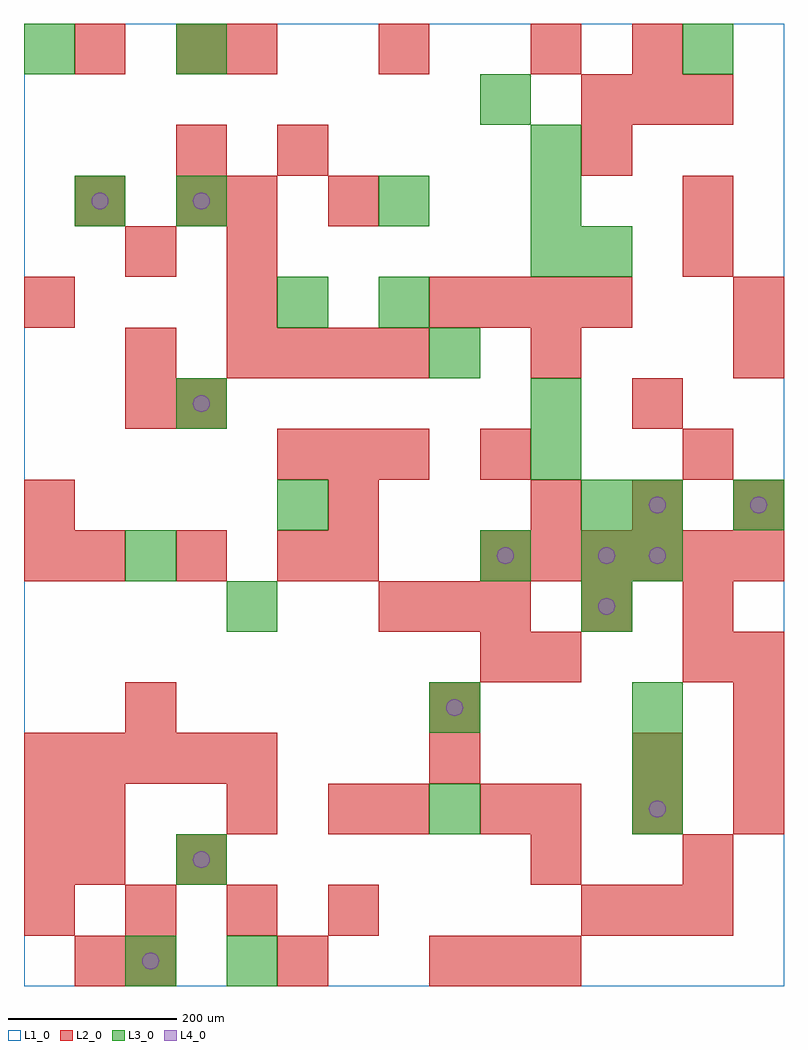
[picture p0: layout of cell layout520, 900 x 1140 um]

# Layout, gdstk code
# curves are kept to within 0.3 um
import gdstk
lib = gdstk.Library(unit=1e-6, precision=1e-09)
def R(c, l, rs):  # rectangles x0, y0, x1, y1
    for r in rs: c.add(gdstk.rectangle(r[:2], r[2:], *l))
def A(c, l, x, y, w, h, nx, ny, dx, dy):  # array of equal rectangles
    R(c, l, [(x+i*dx, y+j*dy, x+i*dx+w, y+j*dy+h) for i in range(nx) for j in range(ny)])
def P(c, l, *ps):  # polygons
    for p in ps: c.add(gdstk.Polygon(p, *l))
L1_0 = (1, 0)
L2_0 = (2, 0)
L3_0 = (3, 0)
L4_0 = (4, 0)

layout520 = lib.new_cell('layout520')
R(layout520, L1_0, [(0,0,900,1140)])
A(layout520, L2_0, 120, 0, 60, 60, 3, 1, 180, 0)
A(layout520, L2_0, 540, 0, 60, 60, 1, 3, 0, 180)
A(layout520, L2_0, 0, 60, 60, 60, 4, 1, 120, 0)
A(layout520, L2_0, 660, 60, 60, 60, 3, 2, 60, 960)
A(layout520, L2_0, 600, 180, 60, 60, 3, 2, 120, 360)
A(layout520, L2_0, 0, 240, 60, 60, 5, 1, 60, 0)
A(layout520, L2_0, 720, 240, 60, 60, 1, 3, 0, 420)
A(layout520, L2_0, 120, 300, 60, 60, 3, 1, 360, 0)
A(layout520, L2_0, 420, 420, 60, 60, 3, 1, 60, 0)
A(layout520, L2_0, 60, 480, 60, 60, 3, 1, 120, 0)
A(layout520, L2_0, 540, 480, 60, 60, 6, 1, 60, 0)
A(layout520, L2_0, 300, 600, 60, 60, 3, 1, 60, 0)
A(layout520, L2_0, 240, 720, 60, 60, 4, 1, 60, 0)
A(layout520, L2_0, 0, 780, 60, 60, 3, 1, 240, 0)
A(layout520, L2_0, 540, 780, 60, 60, 3, 1, 60, 0)
A(layout520, L2_0, 240, 1080, 60, 60, 3, 1, 180, 0)
R(layout520, L2_0, [(60,0,120,60), (600,0,660,60), (0,120,60,180), (60,120,120,180), (180,120,240,180), (600,120,660,180), (780,120,840,180), (0,180,60,240), (60,180,120,240), (240,180,300,240), (360,180,420,240), (420,180,480,240), (480,240,540,300), (840,240,900,300), (600,360,660,420), (780,360,840,420), (840,360,900,420), (660,420,720,480), (780,420,840,480), (0,480,60,540), (360,480,420,540), (0,540,60,600), (360,540,420,600), (540,600,600,660), (780,600,840,660), (120,660,180,720), (180,660,240,720), (120,720,180,780), (600,720,660,780), (840,720,900,780), (840,780,900,840), (120,840,180,900), (240,840,300,900), (780,840,840,900), (60,900,120,960), (180,900,240,960), (240,900,300,960), (360,900,420,960), (780,900,840,960), (180,960,240,1020), (300,960,360,1020), (660,960,720,1020), (60,1080,120,1140), (180,1080,240,1140)])
A(layout520, L3_0, 720, 180, 60, 60, 1, 3, 0, 60)
A(layout520, L3_0, 660, 420, 60, 60, 1, 3, 0, 60)
A(layout520, L3_0, 600, 840, 60, 60, 1, 3, 0, 60)
R(layout520, L3_0, [(120,0,180,60), (240,0,300,60), (180,120,240,180), (480,180,540,240), (480,300,540,360), (240,420,300,480), (120,480,180,540), (540,480,600,540), (720,480,780,540), (300,540,360,600), (720,540,780,600), (840,540,900,600), (600,600,660,660), (180,660,240,720), (600,660,660,720), (480,720,540,780), (300,780,360,840), (420,780,480,840), (660,840,720,900), (60,900,120,960), (180,900,240,960), (420,900,480,960), (540,1020,600,1080), (0,1080,60,1140), (180,1080,240,1140), (780,1080,840,1140)])
P(layout520, L4_0, [(100,930),(99.239,933.827),(97.071,937.071),(93.827,939.239),(90,940),(86.173,939.239),(82.929,937.071),(80.761,933.827),(80,930),(80.761,926.173),(82.929,922.929),(86.173,920.761),(90,920),(93.827,920.761),(97.071,922.929),(99.239,926.173)],
  [(160,30),(159.239,33.827),(157.071,37.071),(153.827,39.239),(150,40),(146.173,39.239),(142.929,37.071),(140.761,33.827),(140,30),(140.761,26.173),(142.929,22.929),(146.173,20.761),(150,20),(153.827,20.761),(157.071,22.929),(159.239,26.173)],
  [(220,150),(219.239,153.827),(217.071,157.071),(213.827,159.239),(210,160),(206.173,159.239),(202.929,157.071),(200.761,153.827),(200,150),(200.761,146.173),(202.929,142.929),(206.173,140.761),(210,140),(213.827,140.761),(217.071,142.929),(219.239,146.173)],
  [(220,690),(219.239,693.827),(217.071,697.071),(213.827,699.239),(210,700),(206.173,699.239),(202.929,697.071),(200.761,693.827),(200,690),(200.761,686.173),(202.929,682.929),(206.173,680.761),(210,680),(213.827,680.761),(217.071,682.929),(219.239,686.173)],
  [(220,930),(219.239,933.827),(217.071,937.071),(213.827,939.239),(210,940),(206.173,939.239),(202.929,937.071),(200.761,933.827),(200,930),(200.761,926.173),(202.929,922.929),(206.173,920.761),(210,920),(213.827,920.761),(217.071,922.929),(219.239,926.173)],
  [(520,330),(519.239,333.827),(517.071,337.071),(513.827,339.239),(510,340),(506.173,339.239),(502.929,337.071),(500.761,333.827),(500,330),(500.761,326.173),(502.929,322.929),(506.173,320.761),(510,320),(513.827,320.761),(517.071,322.929),(519.239,326.173)],
  [(580,510),(579.239,513.827),(577.071,517.071),(573.827,519.239),(570,520),(566.173,519.239),(562.929,517.071),(560.761,513.827),(560,510),(560.761,506.173),(562.929,502.929),(566.173,500.761),(570,500),(573.827,500.761),(577.071,502.929),(579.239,506.173)],
  [(700,450),(699.239,453.827),(697.071,457.071),(693.827,459.239),(690,460),(686.173,459.239),(682.929,457.071),(680.761,453.827),(680,450),(680.761,446.173),(682.929,442.929),(686.173,440.761),(690,440),(693.827,440.761),(697.071,442.929),(699.239,446.173)],
  [(700,510),(699.239,513.827),(697.071,517.071),(693.827,519.239),(690,520),(686.173,519.239),(682.929,517.071),(680.761,513.827),(680,510),(680.761,506.173),(682.929,502.929),(686.173,500.761),(690,500),(693.827,500.761),(697.071,502.929),(699.239,506.173)],
  [(760,210),(759.239,213.827),(757.071,217.071),(753.827,219.239),(750,220),(746.173,219.239),(742.929,217.071),(740.761,213.827),(740,210),(740.761,206.173),(742.929,202.929),(746.173,200.761),(750,200),(753.827,200.761),(757.071,202.929),(759.239,206.173)],
  [(760,510),(759.239,513.827),(757.071,517.071),(753.827,519.239),(750,520),(746.173,519.239),(742.929,517.071),(740.761,513.827),(740,510),(740.761,506.173),(742.929,502.929),(746.173,500.761),(750,500),(753.827,500.761),(757.071,502.929),(759.239,506.173)],
  [(760,570),(759.239,573.827),(757.071,577.071),(753.827,579.239),(750,580),(746.173,579.239),(742.929,577.071),(740.761,573.827),(740,570),(740.761,566.173),(742.929,562.929),(746.173,560.761),(750,560),(753.827,560.761),(757.071,562.929),(759.239,566.173)],
  [(880,570),(879.239,573.827),(877.071,577.071),(873.827,579.239),(870,580),(866.173,579.239),(862.929,577.071),(860.761,573.827),(860,570),(860.761,566.173),(862.929,562.929),(866.173,560.761),(870,560),(873.827,560.761),(877.071,562.929),(879.239,566.173)])

lib.write_gds('layout520.gds')
